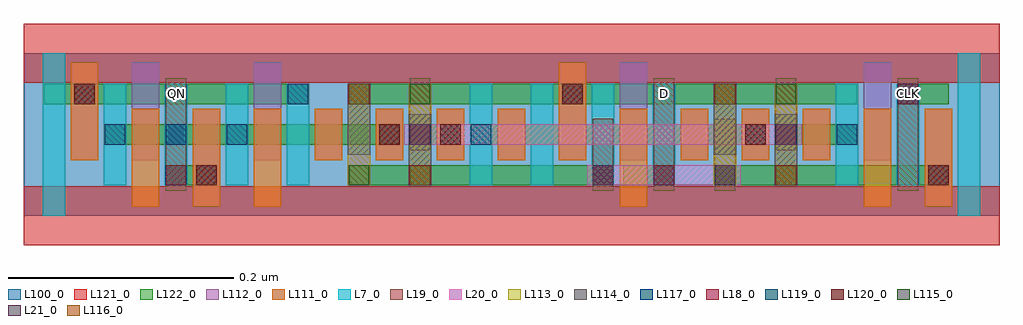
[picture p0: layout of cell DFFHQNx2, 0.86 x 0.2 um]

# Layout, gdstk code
import gdstk
lib = gdstk.Library(unit=1e-6, precision=2.5e-10)
def R(c, l, rs):  # rectangles x0, y0, x1, y1
    for r in rs: c.add(gdstk.rectangle(r[:2], r[2:], *l))
def A(c, l, x, y, w, h, nx, ny, dx, dy):  # array of equal rectangles
    R(c, l, [(x+i*dx, y+j*dy, x+i*dx+w, y+j*dy+h) for i in range(nx) for j in range(ny)])
L7_0 = (7, 0)
L18_0 = (18, 0)
L19_0 = (19, 0)
L20_0 = (20, 0)
L21_0 = (21, 0)
L100_0 = (100, 0)
L111_0 = (111, 0)
L112_0 = (112, 0)
L113_0 = (113, 0)
L114_0 = (114, 0)
L115_0 = (115, 0)
L116_0 = (116, 0)
L117_0 = (117, 0)
L119_0 = (119, 0)
L120_0 = (120, 0)
L121_0 = (121, 0)
L122_0 = (122, 0)

dffhqnx2 = lib.new_cell('DFFHQNx2')
A(dffhqnx2, L7_0, 0.071, 0.027, 0.02, 0.09, 4, 1, 0.054, 0)
A(dffhqnx2, L7_0, 0.395, 0.027, 0.02, 0.09, 4, 1, 0.054, 0)
R(dffhqnx2, L7_0, [(0.017,0,0.037,0.144), (0.827,0,0.847,0.144), (0.719,0.027,0.739,0.117), (0.773,0.027,0.793,0.117)])
A(dffhqnx2, L18_0, 0.504, 0.027, 0.018, 0.018, 3, 1, 0.054, 0)
R(dffhqnx2, L18_0, [(0.126,0.027,0.144,0.045), (0.342,0.063,0.36,0.081), (0.666,0.063,0.684,0.081), (0.774,0.099,0.792,0.117)])
R(dffhqnx2, L19_0, [(0.126,0.022,0.144,0.122), (0.504,0.022,0.522,0.086), (0.558,0.022,0.576,0.122), (0.612,0.022,0.63,0.086), (0.774,0.022,0.792,0.122), (0.342,0.058,0.36,0.122), (0.666,0.058,0.684,0.122)])
R(dffhqnx2, L20_0, [(0.499,0.027,0.635,0.045), (0.337,0.063,0.689,0.081)])
R(dffhqnx2, L21_0, [(0.504,0.027,0.522,0.045), (0.612,0.027,0.63,0.045), (0.342,0.063,0.36,0.081), (0.666,0.063,0.684,0.081)])
R(dffhqnx2, L100_0, [(0,0,0.864,0.144)])
A(dffhqnx2, L111_0, 0.096, 0.008, 0.024, 0.087, 3, 1, 0.054, 0)
A(dffhqnx2, L111_0, 0.258, 0.049, 0.024, 0.046, 4, 1, 0.054, 0)
A(dffhqnx2, L111_0, 0.582, 0.049, 0.024, 0.046, 3, 1, 0.054, 0)
R(dffhqnx2, L111_0, [(0.528,0.008,0.552,0.095), (0.744,0.008,0.768,0.095), (0.798,0.008,0.822,0.095), (0.042,0.049,0.066,0.136), (0.474,0.049,0.498,0.136)])
A(dffhqnx2, L112_0, 0.258, 0.049, 0.024, 0.046, 4, 1, 0.054, 0)
A(dffhqnx2, L112_0, 0.582, 0.049, 0.024, 0.046, 3, 1, 0.054, 0)
R(dffhqnx2, L112_0, [(0.15,0.008,0.174,0.095), (0.798,0.008,0.822,0.095), (0.042,0.049,0.066,0.136), (0.096,0.049,0.12,0.136), (0.204,0.049,0.228,0.136), (0.474,0.049,0.498,0.136), (0.528,0.049,0.552,0.136), (0.744,0.049,0.768,0.136)])
R(dffhqnx2, L113_0, [(0.287,0.027,0.307,0.117), (0.341,0.027,0.361,0.117), (0.611,0.027,0.631,0.117), (0.665,0.027,0.685,0.117)])
R(dffhqnx2, L114_0, [(0.341,0.027,0.361,0.09), (0.665,0.027,0.685,0.09), (0.287,0.054,0.307,0.117), (0.611,0.054,0.631,0.117)])
R(dffhqnx2, L115_0, [(0.288,0.027,0.306,0.045), (0.612,0.027,0.63,0.045), (0.342,0.099,0.36,0.117), (0.666,0.099,0.684,0.117)])
R(dffhqnx2, L116_0, [(0.342,0.027,0.36,0.045), (0.666,0.027,0.684,0.045), (0.288,0.099,0.306,0.117), (0.612,0.099,0.63,0.117)])
A(dffhqnx2, L117_0, 0.072, 0.063, 0.018, 0.018, 3, 1, 0.054, 0)
R(dffhqnx2, L117_0, [(0.504,0.027,0.522,0.045), (0.558,0.027,0.576,0.045), (0.396,0.063,0.414,0.081), (0.72,0.063,0.738,0.081), (0.234,0.099,0.252,0.117), (0.774,0.099,0.792,0.117)])
R(dffhqnx2, L119_0, [(0.153,0.027,0.171,0.045), (0.801,0.027,0.819,0.045), (0.315,0.063,0.333,0.081), (0.369,0.063,0.387,0.081), (0.639,0.063,0.657,0.081), (0.045,0.099,0.063,0.117), (0.477,0.099,0.495,0.117)])
R(dffhqnx2, L120_0, [(0.153,0.027,0.171,0.045), (0.801,0.027,0.819,0.045), (0.315,0.063,0.333,0.081), (0.369,0.063,0.387,0.081), (0.639,0.063,0.657,0.081), (0.045,0.099,0.063,0.117), (0.477,0.099,0.495,0.117)])
R(dffhqnx2, L121_0, [(0,-0.026,0.864,0.026), (0,0.118,0.864,0.17)])
R(dffhqnx2, L122_0, [(0.126,0.027,0.171,0.045), (0.288,0.027,0.522,0.045), (0.531,0.027,0.576,0.045), (0.612,0.027,0.819,0.045), (0.072,0.063,0.333,0.081), (0.342,0.063,0.387,0.081), (0.396,0.063,0.657,0.081), (0.666,0.063,0.738,0.081), (0.018,0.099,0.252,0.117), (0.288,0.099,0.738,0.117), (0.774,0.099,0.819,0.117)])
dffhqnx2.add(gdstk.Label('QN', (0.135,0.108), layer=19, texttype=251))
dffhqnx2.add(gdstk.Label('D', (0.567,0.108), layer=19, texttype=251))
dffhqnx2.add(gdstk.Label('CLK', (0.783,0.108), layer=19, texttype=251))

lib.write_gds('DFFHQNx2.gds')
